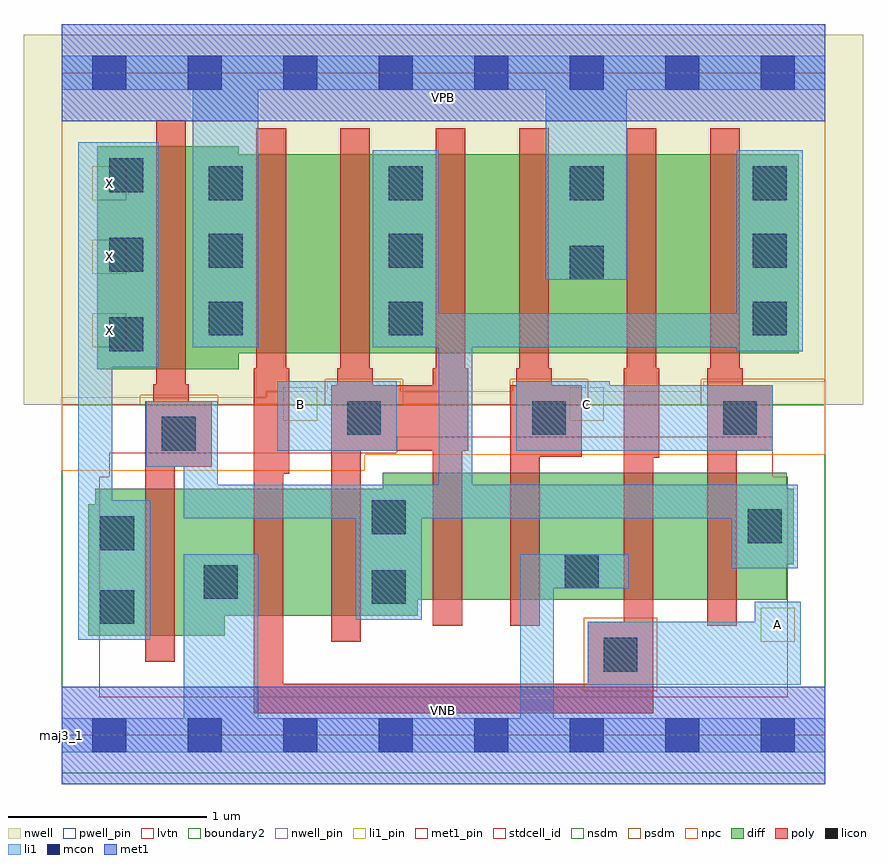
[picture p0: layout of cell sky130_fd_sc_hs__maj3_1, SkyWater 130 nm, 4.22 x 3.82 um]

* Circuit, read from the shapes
.subckt sky130_fd_sc_hs__maj3_1 A B C VGND VNB VPB VPWR X
XM1 VGND n1 X VNB sky130_fd_pr__nfet_01v8_lvt w=0.74 l=0.15
XM2 n2 A VGND VNB sky130_fd_pr__nfet_01v8_lvt w=0.64 l=0.15
XM3 n1 B n2 VNB sky130_fd_pr__nfet_01v8_lvt w=0.64 l=0.15
XM4 n3 B n1 VNB sky130_fd_pr__nfet_01v8_lvt w=0.64 l=0.15
XM5 VGND C n3 VNB sky130_fd_pr__nfet_01v8_lvt w=0.64 l=0.15
XM6 n4 A VGND VNB sky130_fd_pr__nfet_01v8_lvt w=0.64 l=0.15
XM7 n1 C n4 VNB sky130_fd_pr__nfet_01v8_lvt w=0.64 l=0.15
XM8 VPWR n1 X VPB sky130_fd_pr__pfet_01v8 w=1.12 l=0.15
XM9 n5 A VPWR VPB sky130_fd_pr__pfet_01v8 w=1 l=0.15
XM10 n1 B n5 VPB sky130_fd_pr__pfet_01v8 w=1 l=0.15
XM11 n6 B n1 VPB sky130_fd_pr__pfet_01v8 w=1 l=0.15
XM12 VPWR C n6 VPB sky130_fd_pr__pfet_01v8 w=1 l=0.15
XM13 n7 A VPWR VPB sky130_fd_pr__pfet_01v8 w=1 l=0.15
XM14 n1 C n7 VPB sky130_fd_pr__pfet_01v8 w=1 l=0.15
.ends

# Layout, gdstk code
import gdstk
lib = gdstk.Library(unit=1e-6, precision=1e-09)
def R(c, l, rs):  # rectangles x0, y0, x1, y1
    for r in rs: c.add(gdstk.rectangle(r[:2], r[2:], *l))
def A(c, l, x, y, w, h, nx, ny, dx, dy):  # array of equal rectangles
    R(c, l, [(x+i*dx, y+j*dy, x+i*dx+w, y+j*dy+h) for i in range(nx) for j in range(ny)])
def P(c, l, *ps):  # polygons
    for p in ps: c.add(gdstk.Polygon(p, *l))
nwell_pin = (64, 16)
nwell = (64, 20)
diff = (65, 20)
poly = (66, 20)
licon = (66, 44)
li1_pin = (67, 16)
li1 = (67, 20)
mcon = (67, 44)
met1_pin = (68, 16)
met1 = (68, 20)
stdcell_id = (81, 4)
nsdm = (93, 44)
psdm = (94, 20)
npc = (95, 20)
pwell_pin = (122, 16)
lvtn = (125, 44)
boundary2 = (236, 0)

sky130_fd_sc_hs__maj3_1 = lib.new_cell('sky130_fd_sc_hs__maj3_1')
R(sky130_fd_sc_hs__maj3_1, nwell_pin, [(0,3.085,3.84,3.33)])
R(sky130_fd_sc_hs__maj3_1, nwell, [(-0.19,1.66,4.03,3.52)])
P(sky130_fd_sc_hs__maj3_1, diff, [(3.68,1.24),(3.645,1.24),(3.645,1.32),(1.615,1.32),(1.615,1.24),(0.17,1.24),(0.17,1.16),(0.135,1.16),(0.135,0.5),(0.82,0.5),(0.82,0.6),(1.79,0.6),(1.79,0.68),(3.645,0.68),(3.645,0.86),(3.68,0.86)],
  [(3.705,2.92),(0.89,2.92),(0.89,2.96),(0.18,2.96),(0.18,1.84),(0.89,1.84),(0.89,1.92),(3.705,1.92)])
P(sky130_fd_sc_hs__maj3_1, poly, [(3.575,1.76),(3.425,1.76),(3.425,1.845),(3.41,1.845),(3.41,3.05),(3.26,3.05),(3.26,1.845),(3.245,1.845),(3.245,0.55),(3.395,0.55),(3.395,1.43),(3.575,1.43)],
  [(3.005,1.845),(2.99,1.845),(2.99,3.05),(2.84,3.05),(2.84,1.845),(2.825,1.845),(2.825,0.57),(2.645,0.57),(2.645,0.26),(1.115,0.26),(1.115,1.315),(1.145,1.315),(1.145,1.845),(1.13,1.845),(1.13,3.05),(0.98,3.05),(0.98,1.845),(0.965,1.845),(0.965,0.11),(2.975,0.11),(2.975,1.395),(3.005,1.395)],
  [(2.615,1.76),(2.465,1.76),(2.465,1.845),(2.45,1.845),(2.45,3.05),(2.3,3.05),(2.3,1.845),(2.285,1.845),(2.285,1.76),(2.255,1.76),(2.255,0.55),(2.405,0.55),(2.405,1.4),(2.615,1.4)],
  [(2.045,1.845),(2.03,1.845),(2.03,3.05),(1.88,3.05),(1.88,1.845),(1.865,1.845),(1.865,1.76),(1.565,1.76),(1.565,1.845),(1.55,1.845),(1.55,3.05),(1.4,3.05),(1.4,1.845),(1.385,1.845),(1.385,1.76),(1.355,1.76),(1.355,0.47),(1.505,0.47),(1.505,1.43),(1.865,1.43),(1.865,0.55),(2.015,0.55),(2.015,1.43),(2.045,1.43)],
  [(0.755,1.68),(0.64,1.68),(0.64,1.765),(0.625,1.765),(0.625,3.09),(0.475,3.09),(0.475,1.765),(0.46,1.765),(0.46,1.68),(0.42,1.68),(0.42,0.37),(0.57,0.37),(0.57,1.35),(0.755,1.35)])
A(sky130_fd_sc_hs__maj3_1, licon, 0.24, 1.93, 0.17, 0.17, 1, 3, 0, 0.4)
A(sky130_fd_sc_hs__maj3_1, licon, 0.74, 2.01, 0.17, 0.17, 1, 3, 0, 0.34)
A(sky130_fd_sc_hs__maj3_1, licon, 1.645, 2.01, 0.17, 0.17, 1, 3, 0, 0.34)
A(sky130_fd_sc_hs__maj3_1, licon, 3.475, 2.01, 0.17, 0.17, 1, 3, 0, 0.34)
R(sky130_fd_sc_hs__maj3_1, licon, [(2.725,0.32,2.895,0.49), (0.195,0.56,0.365,0.73), (1.56,0.66,1.73,0.83), (0.715,0.685,0.885,0.855), (2.53,0.74,2.7,0.91), (0.195,0.93,0.365,1.1), (3.45,0.965,3.62,1.135), (1.56,1.01,1.73,1.18), (0.505,1.43,0.675,1.6), (1.435,1.51,1.605,1.68), (2.365,1.51,2.535,1.68), (3.325,1.51,3.495,1.68), (2.555,2.29,2.725,2.46), (2.555,2.69,2.725,2.86)])
A(sky130_fd_sc_hs__maj3_1, li1_pin, 0.155, 1.95, 0.17, 0.17, 1, 3, 0, 0.37)
R(sky130_fd_sc_hs__maj3_1, li1_pin, [(3.515,0.47,3.685,0.64), (1.115,1.58,1.285,1.75), (2.555,1.58,2.725,1.75)])
R(sky130_fd_sc_hs__maj3_1, li1, [(1.085,1.43,1.685,1.78)])
P(sky130_fd_sc_hs__maj3_1, li1, [(2.435,2.29),(2.435,3.245),(0.99,3.245),(0.99,1.95),(0.66,1.95),(0.66,3.245),(0,3.245),(0,3.415),(3.84,3.415),(3.84,3.245),(2.84,3.245),(2.84,2.29)],
  [(0.615,0.085),(0.615,0.91),(0.99,0.91),(0.99,0.085),(2.305,0.085),(2.305,0.91),(2.85,0.91),(2.85,0.74),(2.475,0.74),(2.475,0.085),(3.84,0.085),(3.84,-0.085),(0,-0.085),(0,0.085)],
  [(2.645,0.255),(2.645,0.57),(3.485,0.57),(3.485,0.67),(3.715,0.67),(3.715,0.255)],
  [(0.615,1.09),(0.615,1.35),(0.425,1.35),(0.425,1.68),(0.785,1.68),(0.785,1.26),(1.895,1.26),(1.895,1.95),(1.565,1.95),(1.565,2.94),(1.895,2.94),(1.895,2.12),(3.395,2.12),(3.395,2.94),(3.725,2.94),(3.725,1.93),(3.395,1.93),(3.395,1.95),(2.065,1.95),(2.065,1.26),(3.7,1.26),(3.7,0.84),(3.37,0.84),(3.37,1.09),(1.81,1.09),(1.81,0.58),(1.48,0.58),(1.48,1.09)],
  [(0.085,2.98),(0.49,2.98),(0.49,1.85),(0.255,1.85),(0.255,1.18),(0.445,1.18),(0.445,0.48),(0.085,0.48)],
  [(2.285,1.43),(2.285,1.78),(2.755,1.78),(2.755,1.76),(3.575,1.76),(3.575,1.43)])
A(sky130_fd_sc_hs__maj3_1, mcon, 0.155, -0.085, 0.17, 0.17, 8, 2, 0.48, 3.33)
R(sky130_fd_sc_hs__maj3_1, met1_pin, [(0,0,3.84,0.245), (0,3.085,3.84,3.33)])
R(sky130_fd_sc_hs__maj3_1, met1, [(0,-0.245,3.84,0.245), (0,3.085,3.84,3.575)])
R(sky130_fd_sc_hs__maj3_1, stdcell_id, [(0,0,3.84,3.33)])
R(sky130_fd_sc_hs__maj3_1, nsdm, [(0,-0.19,3.84,1.66)])
P(sky130_fd_sc_hs__maj3_1, psdm, [(3.84,3.52),(0,3.52),(0,1.66),(0.395,1.66),(0.395,1.71),(0.785,1.71),(0.785,1.66),(1.325,1.66),(1.325,1.79),(1.715,1.79),(1.715,1.66),(2.255,1.66),(2.255,1.79),(2.645,1.79),(2.645,1.66),(3.215,1.66),(3.215,1.79),(3.84,1.79)])
R(sky130_fd_sc_hs__maj3_1, npc, [(2.625,0.22,2.995,0.59)])
P(sky130_fd_sc_hs__maj3_1, npc, [(3.84,1.78),(3.225,1.78),(3.225,1.73),(2.635,1.73),(2.635,1.78),(2.265,1.78),(2.265,1.73),(1.705,1.73),(1.705,1.78),(1.335,1.78),(1.335,1.73),(1.03,1.73),(1.03,1.7),(0,1.7),(0,1.33),(1.525,1.33),(1.525,1.41),(3.84,1.41)])
R(sky130_fd_sc_hs__maj3_1, pwell_pin, [(0,0,3.84,0.245)])
P(sky130_fd_sc_hs__maj3_1, lvtn, [(3.65,1.3),(3.575,1.3),(3.575,1.5),(1.685,1.5),(1.685,1.42),(0.24,1.42),(0.24,1.3),(0.19,1.3),(0.19,0.19),(3.65,0.19)])
R(sky130_fd_sc_hs__maj3_1, boundary2, [(0,0,3.84,3.33)])
sky130_fd_sc_hs__maj3_1.add(gdstk.Label('maj3_1', (0,0), layer=83, texttype=44))
sky130_fd_sc_hs__maj3_1.add(gdstk.Label('VNB', (1.92,0.123), layer=64, texttype=59))
sky130_fd_sc_hs__maj3_1.add(gdstk.Label('VPB', (1.92,3.208), layer=64, texttype=5))
sky130_fd_sc_hs__maj3_1.add(gdstk.Label('VPWR', (1.92,3.208), layer=68, texttype=5))
sky130_fd_sc_hs__maj3_1.add(gdstk.Label('VGND', (1.92,0.123), layer=68, texttype=5))
sky130_fd_sc_hs__maj3_1.add(gdstk.Label('A', (3.6,0.555), layer=67, texttype=5))
sky130_fd_sc_hs__maj3_1.add(gdstk.Label('B', (1.2,1.665), layer=67, texttype=5))
sky130_fd_sc_hs__maj3_1.add(gdstk.Label('X', (0.24,2.035), layer=67, texttype=5))
sky130_fd_sc_hs__maj3_1.add(gdstk.Label('X', (0.24,2.405), layer=67, texttype=5))
sky130_fd_sc_hs__maj3_1.add(gdstk.Label('X', (0.24,2.775), layer=67, texttype=5))
sky130_fd_sc_hs__maj3_1.add(gdstk.Label('C', (2.64,1.665), layer=67, texttype=5))

lib.write_gds('sky130_fd_sc_hs__maj3_1.gds')
